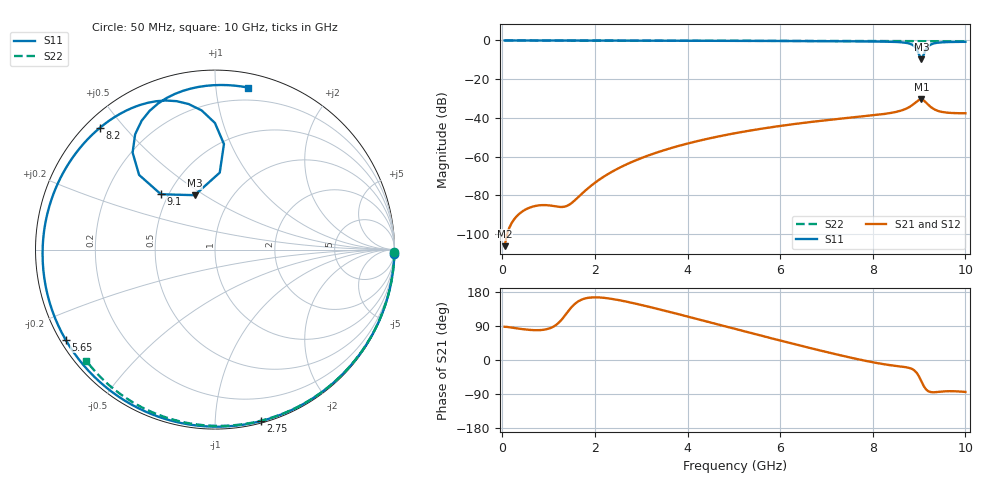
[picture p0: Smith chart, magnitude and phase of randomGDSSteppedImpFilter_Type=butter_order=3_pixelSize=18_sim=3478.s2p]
! freq	dB(S11)	phase(S11)	dB(S12)	phase(S12)
!  dB(S21)	phase(S21)	dB(S22)	phase(S22)
!S-par simulation data
#  GHz  S  DB  R 50
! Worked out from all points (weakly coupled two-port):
!   200 points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, 50 MHz to 10 GHz, reference 50 ohm
!   highest |S21| = -30.44 dB at 9.05 GHz (marker M1); lowest = -106.3 dB at 50 MHz (marker M2)
!   lowest |S11| = -9.8 dB at 9.05 GHz (marker M3), VSWR 1.96, Z = 33.6 + j22.8 ohm
!   |S11| at or under -10 dB: nowhere
!   |S22| runs from -0.5 to 0.0 dB; largest |S21 - S12| = 0
!   S11 on the Smith chart (normalised r, x): 50 MHz: 1, -80; 2.75 GHz: 0.01, -1.30; 5.65 GHz: 0.02, -0.28; 8.2 GHz: 0.04, +0.43; 9.1 GHz: 0.46, +0.34; 10 GHz: 0.10, +1.22
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0.05  -0.00 -1.4  -106.29 87.7  -106.29 87.7  -0.00 -0.8
0.85  -0.03 -23.9  -85.09 79.2  -85.09 79.2  -0.02 -13.6
1.65  -0.06 -45.9  -80.73 155.4  -80.73 155.4  -0.03 -26.2
1.75  -0.06 -48.6  -78.50 161.0  -78.50 161.0  -0.04 -27.8
2.2  -0.08 -60.7  -70.24 164.0  -70.24 164.0  -0.04 -34.7
2.75  -0.10 -75.1  -63.28 152.2  -63.28 152.2  -0.06 -43.1
3.4  -0.12 -91.9  -57.41 133.4  -57.41 133.4  -0.07 -52.8
4.2  -0.16 -112.1  -52.08 108.4  -52.08 108.4  -0.09 -64.4
5.05  -0.20 -133.5  -47.82 81.4  -47.82 81.4  -0.12 -76.4
5.65  -0.25 -148.9  -45.40 62.4  -45.40 62.4  -0.14 -84.5
6.7  -0.34 -177.3  -42.02 30.0  -42.02 30.0  -0.19 -98.3
7.5  -0.44 158.5  -39.95 6.8  -39.95 6.8  -0.24 -108.5
8.2  -0.59 133.5  -38.13 -10.4  -38.13 -10.4  -0.29 -117.2
8.35  -0.66 127.2  -37.61 -13.2  -37.61 -13.2  -0.31 -119.1
8.8  -1.67 100.3  -34.24 -21.4  -34.24 -21.4  -0.35 -124.6
8.95  -4.58 85.2  -31.52 -34.0  -31.52 -34.0  -0.36 -126.4
9  -7.34 86.5  -30.69 -43.8  -30.69 -43.8  -0.36 -127.0
9.05  -9.80 110.5  -30.44 -56.3  -30.44 -56.3  -0.37 -127.6
9.1  -7.31 134.3  -30.98 -68.6  -30.98 -68.6  -0.37 -128.2
9.2  -2.99 130.3  -33.26 -82.4  -33.26 -82.4  -0.38 -129.5
9.4  -1.17 111.3  -36.33 -84.3  -36.33 -84.3  -0.40 -131.9
10  -0.71 78.4  -37.60 -84.3  -37.60 -84.3  -0.47 -139.2
